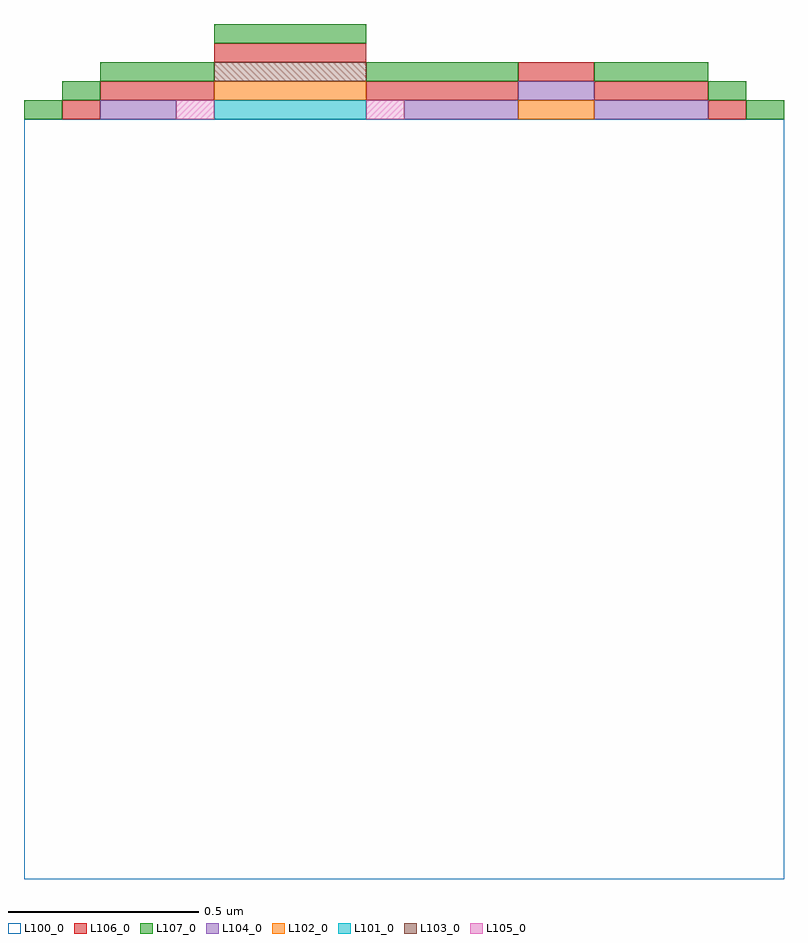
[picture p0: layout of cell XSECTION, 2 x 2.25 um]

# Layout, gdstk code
import gdstk
lib = gdstk.Library(unit=1e-6, precision=1e-09)
def R(c, l, rs):  # rectangles x0, y0, x1, y1
    for r in rs: c.add(gdstk.rectangle(r[:2], r[2:], *l))
L100_0 = (100, 0)
L101_0 = (101, 0)
L102_0 = (102, 0)
L103_0 = (103, 0)
L104_0 = (104, 0)
L105_0 = (105, 0)
L106_0 = (106, 0)
L107_0 = (107, 0)

xsection = lib.new_cell('XSECTION')
R(xsection, L100_0, [(0,-2,2,0)])
R(xsection, L101_0, [(0.5,0,0.9,0.05)])
R(xsection, L102_0, [(1.3,0,1.5,0.05), (0.5,0.05,0.9,0.1)])
R(xsection, L103_0, [(0.5,0.1,0.9,0.15)])
R(xsection, L104_0, [(0.2,0,0.4,0.05), (1,0,1.3,0.05), (1.5,0,1.8,0.05), (1.3,0.05,1.5,0.1)])
R(xsection, L105_0, [(0.4,0,0.5,0.05), (0.9,0,1,0.05)])
R(xsection, L106_0, [(0.1,0,0.2,0.05), (1.8,0,1.9,0.05), (0.2,0.05,0.5,0.1), (0.9,0.05,1.3,0.1), (1.5,0.05,1.8,0.1), (1.3,0.1,1.5,0.15), (0.5,0.15,0.9,0.2)])
R(xsection, L107_0, [(0,0,0.1,0.05), (1.9,0,2,0.05), (0.1,0.05,0.2,0.1), (1.8,0.05,1.9,0.1), (0.2,0.1,0.5,0.15), (0.9,0.1,1.3,0.15), (1.5,0.1,1.8,0.15), (0.5,0.2,0.9,0.25)])

lib.write_gds('XSECTION.gds')
